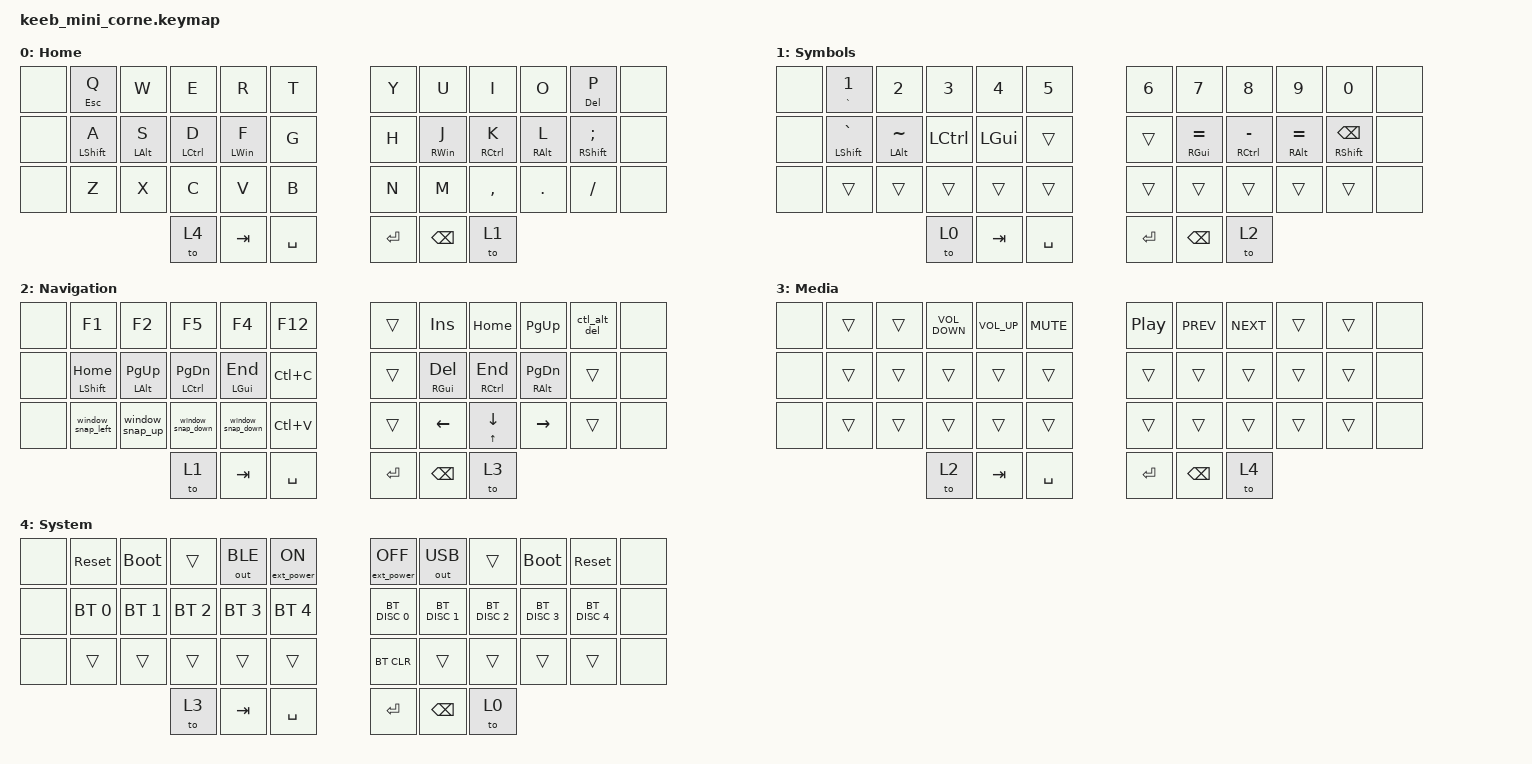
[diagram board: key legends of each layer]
/*
 * Copyright (c) 2020 The ZMK Contributors
 *
 * SPDX-License-Identifier: MIT
 */

#include <behaviors.dtsi>
#include <dt-bindings/zmk/bt.h>
#include <dt-bindings/zmk/ext_power.h>
#include <dt-bindings/zmk/keys.h>
#include <dt-bindings/zmk/outputs.h>

// Uncomment to turn on LEDs
// #include <dt-bindings/zmk/backlight.h>
// #include <dt-bindings/zmk/rgb.h>
/* &led_strip {
    chain-length = <27>;

    // 7 backlight + 2 glowlight
}; */

/ {
    behaviors {
        layer_dance: layer_dance {
            compatible = "zmk,behavior-tap-dance";
            label = "LAYER_DANCE";
            #binding-cells = <0>;
            bindings = <&tog 0>, <&tog 1>, <&tog 2>, <&tog 3>, <&tog 4>;

            tapping-term-ms = <280>;
        };

        hrm_left: hrm_left {
            compatible = "zmk,behavior-hold-tap";
            label = "HRM_LEFT";
            bindings = <&kp>, <&kp>;

            #binding-cells = <2>;
            tapping-term-ms = <280>;
            quick-tap-ms = <175>;
            flavor = "balanced";
            hold-trigger-key-positions = <13 14 15 16 17 36 37 38 39 40 41>;
            hold-trigger-on-release;
        };

        hrm_right: hrm_right {
            compatible = "zmk,behavior-hold-tap";
            label = "HRM_RIGHT";
            bindings = <&kp>, <&kp>;

            #binding-cells = <2>;
            tapping-term-ms = <280>;
            quick-tap-ms = <175>;
            flavor = "balanced";
            hold-trigger-key-positions = <18 19 20 21 22 39 40 41 38 37 36>;
            hold-trigger-on-release;
        };

        layer_toggle: layer_toggle {
            compatible = "zmk,behavior-hold-tap";
            label = "LAYER_TOGGLE";
            bindings = <&tog>, <&kp>;

            #binding-cells = <2>;
            tapping-term-ms = <280>;
            quick-tap-ms = <175>;
            flavor = "balanced";
            hold-trigger-on-release;
            hold-trigger-key-positions = <25 26 27 28 29>;
        };
    };

    macros {
        ctl_alt_del: ctl_alt_del {
            compatible = "zmk,behavior-macro";
            #binding-cells = <0>;
            bindings = <&kp LC(LA(DEL))>;
            label = "CTL_ALT_DEL";
        };

        alt_tab: alt_tab {
            compatible = "zmk,behavior-macro";
            #binding-cells = <0>;
            bindings = <&kp LA(TAB)>;
            label = "ALT_TAB";
        };

        alt_f4: alt_f4 {
            compatible = "zmk,behavior-macro";
            #binding-cells = <0>;
            bindings = <&kp LA(F4)>;
            label = "ALT_F4";
        };

        window_snap_left: window_snap_left {
            compatible = "zmk,behavior-macro";
            #binding-cells = <0>;
            bindings = <&kp LG(LEFT)>;
            label = "WINDOW_SNAP_LEFT";
        };

        window_snap_right: window_snap_right {
            compatible = "zmk,behavior-macro";
            #binding-cells = <0>;
            bindings = <&kp LG(RIGHT)>;
            label = "WINDOW_SNAP_RIGHT";
        };

        window_snap_up: window_snap_up {
            compatible = "zmk,behavior-macro";
            #binding-cells = <0>;
            bindings = <&kp LG(UP_ARROW)>;
            label = "WINDOW_SNAP_UP";
        };

        window_snap_down: window_snap_down {
            compatible = "zmk,behavior-macro";
            #binding-cells = <0>;
            bindings = <&kp LG(DOWN_ARROW)>;
            label = "WINDOW_SNAP_DOWN";
        };
    };

    keymap {
        compatible = "zmk,keymap";

        default_layer {
            // -----------------------------------------------------------------------------------------
            // |      |  Q  |  W  |  E  |  R  |  T  |   |  Y  |  U   |  I  |  O  |  P  |      |
            // |      |  A  |  S  |  D  |  F  |  G  |   |  H  |  J   |  K  |  L  |  ;  |      |
            // |      |  Z  |  X  |  C  |  V  |  B  |   |  N  |  M   |  ,  |  .  |  /  |      |
            //                    | GUI | LWR | SPC |   | ENT | RSE  | ALT |

            bindings = <
&none  &hrm_left ESCAPE Q      &kp W                 &kp E                     &kp R                 &kp T        &kp Y    &kp U              &kp I                       &kp O                   &hrm_right DELETE P               &none
&none  &hrm_left LEFT_SHIFT A  &hrm_left LEFT_ALT S  &hrm_left LEFT_CONTROL D  &hrm_left LEFT_WIN F  &kp G        &kp H    &hrm_right RWIN J  &hrm_right RIGHT_CONTROL K  &hrm_right RIGHT_ALT L  &hrm_right RIGHT_SHIFT SEMICOLON  &none
&none  &kp Z                   &kp X                 &kp C                     &kp V                 &kp B        &kp N    &kp M              &kp COMMA                   &kp DOT                 &kp FSLH                          &none
                                                     &to 4                     &kp TAB               &kp SPACE    &kp RET  &kp BACKSPACE      &to 1
            >;

            label = "Home";
        };

        symbol_layer {
            // -----------------------------------------------------------------------------------------
            // |      |  !  |  @  |  #  |  $  |  %  |   |  ^  |  &  |  *  |  (  |  )  |      |
            // |      |     |     |     |     |     |   |  -  |  =  |  [  |  ]  |  \  |      |
            // |      |     |     |     |     |     |   |  _  |  +  |  {  |  }  | "|" |      |
            //                    | GUI |     | SPC |   | ENT |     | ALT |

            bindings = <
&none  &hrm_left GRAVE N1      &kp N2                &kp N3     &kp N4        &kp N5       &kp NUMBER_6  &kp N7                      &kp NUMBER_8            &kp N9                      &kp N0                            &none
&none  &hrm_left LSHIFT GRAVE  &hrm_left LALT TILDE  &kp LCTRL  &kp LEFT_GUI  &trans       &trans        &hrm_right RIGHT_GUI EQUAL  &hrm_right RCTRL MINUS  &hrm_right RIGHT_ALT EQUAL  &hrm_right RIGHT_SHIFT BACKSPACE  &none
&none  &trans                  &trans                &trans     &trans        &trans       &trans        &trans                      &trans                  &trans                      &trans                            &none
                                                     &to 0      &kp TAB       &kp SPACE    &kp RET       &kp BACKSPACE               &to 2
            >;

            label = "Symbols";
        };

        nav_layer {
            // -----------------------------------------------------------------------------------------
            // |      |     |     |     |     |     |   |  /  |  7  |  8  |  9  |  -  |      |
            // |      | ALT |     |     |     |     |   |  *  |  4  |  5  |  5  |  +  |      |
            // |      |     |     |     |     |     |   |  %  |  1  |  2  |  3  | ENT |      |
            //                    | GUI |     | SPC |   | ENT |     | ALT |

            bindings = <
&none  &kp F1                     &kp F2                  &kp F5                     &kp F4                  &kp F12      &trans     &kp INSERT              &kp HOME              &kp PAGE_UP                &ctl_alt_del  &none
&none  &hrm_left LEFT_SHIFT HOME  &hrm_left LALT PAGE_UP  &hrm_left LCTRL PAGE_DOWN  &hrm_left LEFT_GUI END  &kp LC(C)    &trans     &hrm_right RGUI DELETE  &hrm_right RCTRL END  &hrm_right RALT PAGE_DOWN  &trans        &none
&none  &window_snap_left          &window_snap_up         &window_snap_down          &window_snap_down       &kp LC(V)    &trans     &kp LEFT                &hrm_right UP DOWN    &kp RIGHT                  &trans        &none
                                                          &to 1                      &kp TAB                 &kp SPACE    &kp ENTER  &kp BACKSPACE           &to 3
            >;

            label = "Navigation";
        };

        media_layer {
            bindings = <
&none  &trans  &trans  &kp C_VOLUME_DOWN  &kp C_VOLUME_UP  &kp K_MUTE    &kp C_PLAY_PAUSE  &kp C_PREV       &kp C_NEXT  &trans  &trans  &none
&none  &trans  &trans  &trans             &trans           &trans        &trans            &trans           &trans      &trans  &trans  &none
&none  &trans  &trans  &trans             &trans           &trans        &trans            &trans           &trans      &trans  &trans  &none
                       &to 2              &kp TAB           &kp SPACE    &kp ENTER         &kp BACKSPACE     &to 4
            >;

            label = "Media";
        };

        system_layer {
            // -----------------------------------------------------------------------------------------
            // |      |  1  |  2  |  3  |  4  |  5  |   |  6  |  7  |  8  |  9  |  0  |      |
            // |      | BT1 | BT2 | BT3 | BT4 | BT5 |   | LFT | DWN |  UP | RGT |     |      |
            // |      |     |     |     |     |     |   |     |     |     |     |     |      |
            //                    | GUI |     | SPC |   | ENT |     | ALT |

            bindings = <
&none  &sys_reset       &bootloader     &trans          &out OUT_BLE    &ext_power EP_ON    &ext_power EP_OFF   &out OUT_USB    &trans          &bootloader         &sys_reset          &none
&none  &bt BT_SEL 0     &bt BT_SEL 1    &bt BT_SEL 2    &bt BT_SEL 3    &bt BT_SEL 4        &bt BT_DISC 0       &bt BT_DISC 1   &bt BT_DISC 2   &bt BT_DISC 3       &bt BT_DISC 4       &none
&none  &trans           &trans          &trans          &trans          &trans              &bt BT_CLR          &trans          &trans          &trans              &trans              &none
                                        &to 3           &kp TAB         &kp SPACE           &kp ENTER           &kp BACKSPACE       &to 0
            >;

            label = "System";
        };
    };
};
